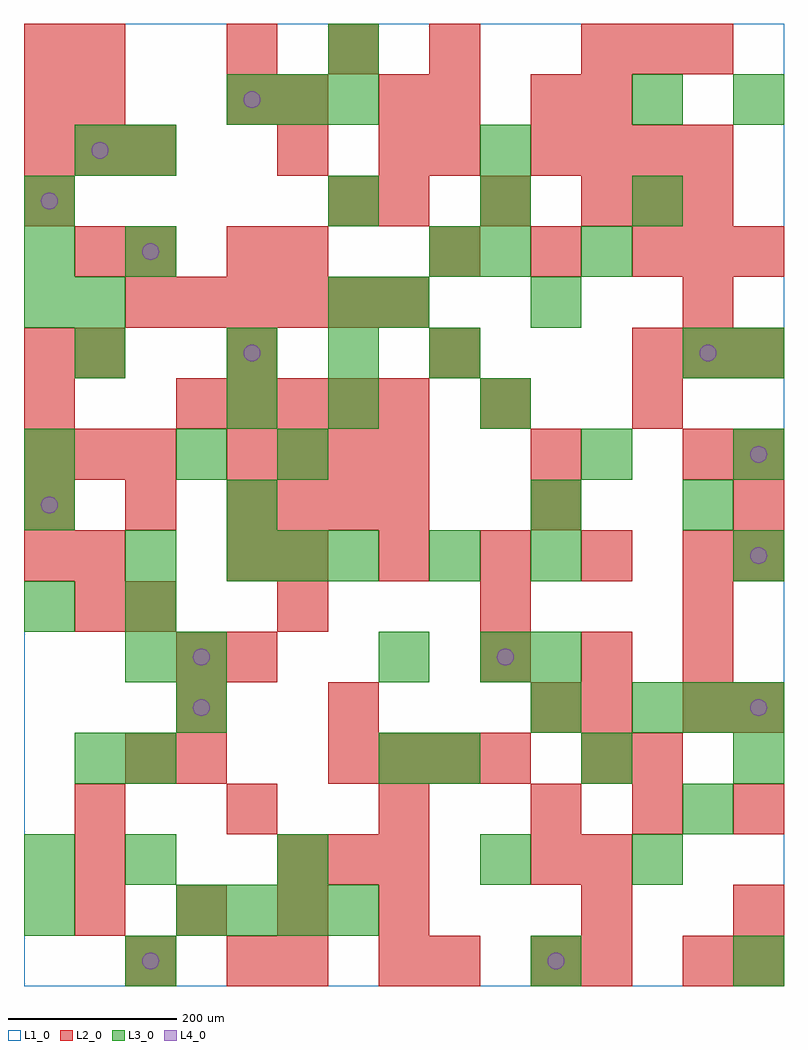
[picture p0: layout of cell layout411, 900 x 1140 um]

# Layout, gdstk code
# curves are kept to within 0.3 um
import gdstk
lib = gdstk.Library(unit=1e-6, precision=1e-09)
def R(c, l, rs):  # rectangles x0, y0, x1, y1
    for r in rs: c.add(gdstk.rectangle(r[:2], r[2:], *l))
def A(c, l, x, y, w, h, nx, ny, dx, dy):  # array of equal rectangles
    R(c, l, [(x+i*dx, y+j*dy, x+i*dx+w, y+j*dy+h) for i in range(nx) for j in range(ny)])
def P(c, l, *ps):  # polygons
    for p in ps: c.add(gdstk.Polygon(p, *l))
L1_0 = (1, 0)
L2_0 = (2, 0)
L3_0 = (3, 0)
L4_0 = (4, 0)

layout411 = lib.new_cell('layout411')
R(layout411, L1_0, [(0,0,900,1140)])
A(layout411, L2_0, 660, 0, 60, 60, 1, 3, 0, 60)
A(layout411, L2_0, 780, 0, 60, 60, 1, 3, 0, 300)
A(layout411, L2_0, 60, 60, 60, 60, 4, 1, 120, 0)
A(layout411, L2_0, 840, 60, 60, 60, 1, 3, 0, 120)
A(layout411, L2_0, 300, 120, 60, 60, 3, 2, 60, 420)
A(layout411, L2_0, 60, 180, 60, 60, 4, 1, 180, 0)
A(layout411, L2_0, 180, 240, 60, 60, 1, 3, 0, 60)
A(layout411, L2_0, 360, 240, 60, 60, 4, 1, 60, 0)
A(layout411, L2_0, 540, 360, 60, 60, 3, 1, 120, 0)
A(layout411, L2_0, 300, 420, 60, 60, 3, 1, 240, 0)
A(layout411, L2_0, 300, 480, 60, 60, 5, 1, 120, 0)
A(layout411, L2_0, 840, 480, 60, 60, 1, 3, 0, 60)
A(layout411, L2_0, 0, 540, 60, 60, 3, 1, 120, 0)
A(layout411, L2_0, 0, 600, 60, 60, 3, 2, 60, 360)
A(layout411, L2_0, 240, 600, 60, 60, 4, 1, 60, 0)
A(layout411, L2_0, 180, 660, 60, 60, 5, 1, 60, 0)
A(layout411, L2_0, 240, 720, 60, 60, 3, 1, 240, 0)
A(layout411, L2_0, 780, 720, 60, 60, 1, 4, 0, 60)
A(layout411, L2_0, 120, 780, 60, 60, 6, 1, 60, 0)
A(layout411, L2_0, 480, 840, 60, 60, 3, 1, 120, 0)
A(layout411, L2_0, 420, 900, 60, 60, 3, 1, 120, 0)
A(layout411, L2_0, 600, 960, 60, 60, 4, 1, 60, 0)
A(layout411, L2_0, 240, 1080, 60, 60, 3, 1, 120, 0)
A(layout411, L2_0, 660, 1080, 60, 60, 3, 1, 60, 0)
R(layout411, L2_0, [(120,0,180,60), (240,0,300,60), (300,0,360,60), (420,0,480,60), (480,0,540,60), (600,0,660,60), (840,0,900,60), (60,120,120,180), (600,120,660,180), (720,180,780,240), (120,240,180,300), (660,240,720,300), (720,240,780,300), (360,300,420,360), (600,300,660,360), (660,300,720,360), (240,360,300,420), (60,420,120,480), (120,420,180,480), (0,480,60,540), (60,480,120,540), (240,480,300,540), (600,540,660,600), (600,600,660,660), (0,660,60,720), (540,660,600,720), (720,660,780,720), (0,720,60,780), (60,720,120,780), (840,720,900,780), (60,840,120,900), (120,840,180,900), (240,840,300,900), (300,840,360,900), (840,840,900,900), (0,900,60,960), (360,900,420,960), (720,900,780,960), (300,960,360,1020), (420,960,480,1020), (480,960,540,1020), (0,1020,60,1080), (60,1020,120,1080), (240,1020,300,1080), (300,1020,360,1080), (420,1020,480,1080), (480,1020,540,1080), (600,1020,660,1080), (660,1020,720,1080), (0,1080,60,1140), (60,1080,120,1140)])
A(layout411, L3_0, 120, 0, 60, 60, 1, 4, 0, 120)
A(layout411, L3_0, 180, 60, 60, 60, 4, 1, 60, 0)
A(layout411, L3_0, 480, 240, 60, 60, 3, 1, 180, 0)
A(layout411, L3_0, 720, 300, 60, 60, 3, 1, 60, 0)
A(layout411, L3_0, 240, 480, 60, 60, 3, 2, 60, 540)
A(layout411, L3_0, 840, 480, 60, 60, 1, 3, 0, 120)
A(layout411, L3_0, 240, 720, 60, 60, 3, 1, 120, 0)
A(layout411, L3_0, 0, 780, 60, 60, 1, 3, 0, 60)
A(layout411, L3_0, 360, 900, 60, 60, 3, 1, 180, 0)
R(layout411, L3_0, [(600,0,660,60), (840,0,900,60), (0,60,60,120), (0,120,60,180), (300,120,360,180), (540,120,600,180), (720,120,780,180), (780,180,840,240), (60,240,120,300), (420,240,480,300), (180,300,240,360), (600,300,660,360), (180,360,240,420), (420,360,480,420), (540,360,600,420), (600,360,660,420), (0,420,60,480), (120,420,180,480), (120,480,180,540), (480,480,540,540), (600,480,660,540), (0,540,60,600), (240,540,300,600), (600,540,660,600), (780,540,840,600), (0,600,60,660), (180,600,240,660), (300,600,360,660), (660,600,720,660), (240,660,300,720), (360,660,420,720), (540,660,600,720), (60,720,120,780), (780,720,840,780), (60,780,120,840), (360,780,420,840), (420,780,480,840), (600,780,660,840), (120,840,180,900), (480,840,540,900), (540,840,600,900), (660,840,720,900), (60,960,120,1020), (120,960,180,1020), (540,960,600,1020), (720,1020,780,1080), (840,1020,900,1080), (360,1080,420,1140)])
P(layout411, L4_0, [(40,570),(39.239,573.827),(37.071,577.071),(33.827,579.239),(30,580),(26.173,579.239),(22.929,577.071),(20.761,573.827),(20,570),(20.761,566.173),(22.929,562.929),(26.173,560.761),(30,560),(33.827,560.761),(37.071,562.929),(39.239,566.173)],
  [(40,930),(39.239,933.827),(37.071,937.071),(33.827,939.239),(30,940),(26.173,939.239),(22.929,937.071),(20.761,933.827),(20,930),(20.761,926.173),(22.929,922.929),(26.173,920.761),(30,920),(33.827,920.761),(37.071,922.929),(39.239,926.173)],
  [(100,990),(99.239,993.827),(97.071,997.071),(93.827,999.239),(90,1000),(86.173,999.239),(82.929,997.071),(80.761,993.827),(80,990),(80.761,986.173),(82.929,982.929),(86.173,980.761),(90,980),(93.827,980.761),(97.071,982.929),(99.239,986.173)],
  [(160,30),(159.239,33.827),(157.071,37.071),(153.827,39.239),(150,40),(146.173,39.239),(142.929,37.071),(140.761,33.827),(140,30),(140.761,26.173),(142.929,22.929),(146.173,20.761),(150,20),(153.827,20.761),(157.071,22.929),(159.239,26.173)],
  [(160,870),(159.239,873.827),(157.071,877.071),(153.827,879.239),(150,880),(146.173,879.239),(142.929,877.071),(140.761,873.827),(140,870),(140.761,866.173),(142.929,862.929),(146.173,860.761),(150,860),(153.827,860.761),(157.071,862.929),(159.239,866.173)],
  [(220,330),(219.239,333.827),(217.071,337.071),(213.827,339.239),(210,340),(206.173,339.239),(202.929,337.071),(200.761,333.827),(200,330),(200.761,326.173),(202.929,322.929),(206.173,320.761),(210,320),(213.827,320.761),(217.071,322.929),(219.239,326.173)],
  [(220,390),(219.239,393.827),(217.071,397.071),(213.827,399.239),(210,400),(206.173,399.239),(202.929,397.071),(200.761,393.827),(200,390),(200.761,386.173),(202.929,382.929),(206.173,380.761),(210,380),(213.827,380.761),(217.071,382.929),(219.239,386.173)],
  [(280,750),(279.239,753.827),(277.071,757.071),(273.827,759.239),(270,760),(266.173,759.239),(262.929,757.071),(260.761,753.827),(260,750),(260.761,746.173),(262.929,742.929),(266.173,740.761),(270,740),(273.827,740.761),(277.071,742.929),(279.239,746.173)],
  [(280,1050),(279.239,1053.827),(277.071,1057.071),(273.827,1059.239),(270,1060),(266.173,1059.239),(262.929,1057.071),(260.761,1053.827),(260,1050),(260.761,1046.173),(262.929,1042.929),(266.173,1040.761),(270,1040),(273.827,1040.761),(277.071,1042.929),(279.239,1046.173)],
  [(580,390),(579.239,393.827),(577.071,397.071),(573.827,399.239),(570,400),(566.173,399.239),(562.929,397.071),(560.761,393.827),(560,390),(560.761,386.173),(562.929,382.929),(566.173,380.761),(570,380),(573.827,380.761),(577.071,382.929),(579.239,386.173)],
  [(640,30),(639.239,33.827),(637.071,37.071),(633.827,39.239),(630,40),(626.173,39.239),(622.929,37.071),(620.761,33.827),(620,30),(620.761,26.173),(622.929,22.929),(626.173,20.761),(630,20),(633.827,20.761),(637.071,22.929),(639.239,26.173)],
  [(820,750),(819.239,753.827),(817.071,757.071),(813.827,759.239),(810,760),(806.173,759.239),(802.929,757.071),(800.761,753.827),(800,750),(800.761,746.173),(802.929,742.929),(806.173,740.761),(810,740),(813.827,740.761),(817.071,742.929),(819.239,746.173)],
  [(880,330),(879.239,333.827),(877.071,337.071),(873.827,339.239),(870,340),(866.173,339.239),(862.929,337.071),(860.761,333.827),(860,330),(860.761,326.173),(862.929,322.929),(866.173,320.761),(870,320),(873.827,320.761),(877.071,322.929),(879.239,326.173)],
  [(880,510),(879.239,513.827),(877.071,517.071),(873.827,519.239),(870,520),(866.173,519.239),(862.929,517.071),(860.761,513.827),(860,510),(860.761,506.173),(862.929,502.929),(866.173,500.761),(870,500),(873.827,500.761),(877.071,502.929),(879.239,506.173)],
  [(880,630),(879.239,633.827),(877.071,637.071),(873.827,639.239),(870,640),(866.173,639.239),(862.929,637.071),(860.761,633.827),(860,630),(860.761,626.173),(862.929,622.929),(866.173,620.761),(870,620),(873.827,620.761),(877.071,622.929),(879.239,626.173)])

lib.write_gds('layout411.gds')
